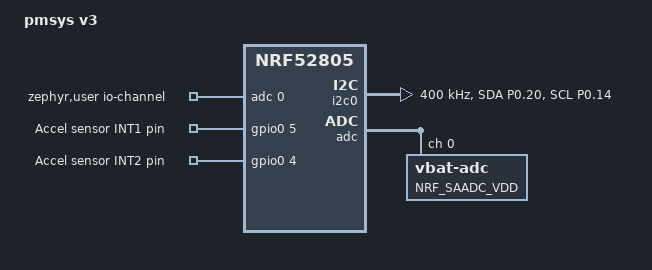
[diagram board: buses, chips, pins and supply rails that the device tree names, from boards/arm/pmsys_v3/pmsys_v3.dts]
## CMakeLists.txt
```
#
# Copyright (c) 2018 Nordic Semiconductor
#
# SPDX-License-Identifier: LicenseRef-Nordic-5-Clause
#
cmake_minimum_required(VERSION 3.20.0)

find_package(Zephyr REQUIRED HINTS $ENV{ZEPHYR_BASE})
project(ble_sensor)

# NORDIC SDK APP START
target_sources(app PRIVATE
  src/main.c
  src/xgzp6812d/xgzp6812d.c
  src/lis2dh12tr/lis2dh12tr.c
  src/lis2dh12tr/lis2dh12_reg.c
)

# NORDIC SDK APP END
zephyr_library_include_directories(. src/lis2dh12tr src/xgzp6812d)
```

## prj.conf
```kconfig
#
# Copyright (c) 2023 Nordic Semiconductor ASA
#
# SPDX-License-Identifier: Apache-2.0
#

# Use internal RC (no external 32khz)
CONFIG_CLOCK_CONTROL_NRF_K32SRC_RC=y
CONFIG_CLOCK_CONTROL_NRF_K32SRC_XTAL=n
CONFIG_CLOCK_CONTROL_NRF_K32SRC_250PPM=y

# Bluetooth
CONFIG_BT=y
CONFIG_BT_PERIPHERAL=y
CONFIG_BT_DEVICE_NAME="PSENS"    # This is prefix name. We will add 2 bytes address at the end of name
CONFIG_BT_LOG_LEVEL_OFF=n

# Log configuration
#CONFIG_LOG=n
#CONFIG_CONSOLE=n
#CONFIG_USE_SEGGER_RTT=n
#CONFIG_RTT_CONSOLE=n
#CONFIG_LOG_BACKEND_RTT=n
#CONFIG_CBPRINTF_FP_SUPPORT=n
#CONFIG_LOG_MODE_IMMEDIATE=n

# Interfaces
CONFIG_I2C=y
CONFIG_I2C_LOG_LEVEL_OFF=y

# Required to disable default behavior of deep sleep on timeout
CONFIG_POWEROFF=y
CONFIG_HWINFO=y

# Disabling unused features
CONFIG_ADC=n
CONFIG_PWM=n
CONFIG_SERIAL=n
CONFIG_WATCHDOG=n
CONFIG_SPI=n
CONFIG_FLASH=n
CONFIG_DEBUG=n

# Power management
CONFIG_PM=y
CONFIG_PM_DEVICE=y
CONFIG_PM_DEVICE_RUNTIME=y
#CONFIG_BT_CTLR_TX_PWR_MINUS_4=y


# LOGGER
#turn y to log
CONFIG_LOG=y
CONFIG_CONSOLE=y
CONFIG_USE_SEGGER_RTT=y
CONFIG_RTT_CONSOLE=y
CONFIG_UART_CONSOLE=n
CONFIG_LOG_BACKEND_RTT=y
CONFIG_CBPRINTF_FP_SUPPORT=n
CONFIG_LOG_MODE_IMMEDIATE=y

#always n
CONFIG_BT_DEBUG_LOG=n
CONFIG_BT_ASSERT=n
CONFIG_BT_DATA_LEN_UPDATE=n
CONFIG_BT_PHY_UPDATE=n
CONFIG_BT_GATT_SERVICE_CHANGED=n
CONFIG_BT_GAP_PERIPHERAL_PREF_PARAMS=n
CONFIG_BT_HCI_VS_EXT=n


CONFIG_IDLE_STACK_SIZE=140
CONFIG_MAIN_STACK_SIZE=1600
CONFIG_ISR_STACK_SIZE=1800

# Reduce Bluetooth buffers
CONFIG_BT_BUF_EVT_DISCARDABLE_COUNT=1
CONFIG_BT_BUF_EVT_DISCARDABLE_SIZE=45
CONFIG_BT_BUF_ACL_RX_COUNT=2
CONFIG_BT_BUF_EVT_RX_COUNT=2

CONFIG_BT_L2CAP_TX_BUF_COUNT=2
```

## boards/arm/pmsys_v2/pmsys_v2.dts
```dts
// Copyright (c) 2024 Nordic Semiconductor ASA
// SPDX-License-Identifier: Apache-2.0

/dts-v1/;
#include <nordic/nrf52840_qiaa.dtsi>

/ {
	model = "pmsys_v2";
	compatible = "pm-sys,pmsys-v2";

	chosen {
		zephyr,sram = &sram0;
		zephyr,flash = &flash0;
		zephyr,code-partition = &slot0_partition;
	};

	gpios {
		compatible = "gpio-keys";
		accelint1: accel_int1 {
			gpios = <&gpio0 2 (GPIO_PULL_DOWN | GPIO_ACTIVE_HIGH)>;
			label = "Accel sensor INT1 pin";
		};
	};

	aliases {
		accelint = &accelint1;
	};

};

&flash0 {
	partitions {
		compatible = "fixed-partitions";
		#address-cells = <1>;
		#size-cells = <1>;

		boot_partition: partition@0 {
			label = "mcuboot";
			reg = <0x0 0xc000>;
		};
		slot0_partition: partition@c000 {
			label = "image-0";
			reg = <0xc000 0x72000>;
		};
		slot1_partition: partition@7e000 {
			label = "image-1";
			reg = <0x7e000 0x72000>;
		};
		scratch_partition: partition@f0000 {
			label = "image-scratch";
			reg = <0xf0000 0xa000>;
		};
		storage_partition: partition@fa000 {
			label = "storage";
			reg = <0xfa000 0x6000>;
		};
	};
};

&gpio0 {
	status = "okay";
};

&gpio1 {
	status = "okay";
};

&pinctrl {

    i2c_alt_default: i2c_alt_default {
        group1 {
            psels = <NRF_PSEL(TWIM_SDA, 1, 4)>,
                	<NRF_PSEL(TWIM_SCL, 1, 6)>;
        };
    };

    i2c_alt_sleep: i2c_alt_sleep {
        group1 {
            psels = <NRF_PSEL(TWIM_SDA, 1, 4)>,
                	<NRF_PSEL(TWIM_SCL, 1, 6)>;
			low-power-enable;
        };
    };

};

i2c0_inst: &i2c0 {
    compatible = "nordic,nrf-twim";
    status = "okay";
    pinctrl-0 = <&i2c_alt_default>;
	pinctrl-1 = <&i2c_alt_sleep>;
	pinctrl-names = "default", "sleep";
    clock-frequency = < I2C_BITRATE_FAST >;
};
```

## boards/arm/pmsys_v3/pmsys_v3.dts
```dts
// Copyright (c) 2024 Nordic Semiconductor ASA
// SPDX-License-Identifier: Apache-2.0

/dts-v1/;
#include <nordic/nrf52805_caaa.dtsi>

/ {
	zephyr,user {
		io-channels = <&adc 0>;
	};
};

/ {
	model = "pmsys v3";
	compatible = "pm-sys,pmsys-v3";
 
	chosen {
		zephyr,sram = &sram0;
		zephyr,flash = &flash0;
		zephyr,code-partition = &slot0_partition;
	};

	gpios {
		compatible = "gpio-keys";
		accelint1: accel_int1 {
			gpios = <&gpio0 5 (GPIO_PULL_DOWN | GPIO_ACTIVE_HIGH)>;
			label = "Accel sensor INT1 pin";
		};
		accelint2: accel_int2 {
			gpios = <&gpio0 4 (GPIO_PULL_DOWN | GPIO_ACTIVE_HIGH)>;
			label = "Accel sensor INT2 pin";
		};
	};

	aliases {
		accelint = &accelint1;
	};
};

&flash0 {
	partitions {
		compatible = "fixed-partitions";
		#address-cells = <1>;
		#size-cells = <1>;

		boot_partition: partition@0 {
			label = "mcuboot";
			reg = <0x0 0xc000>;
		};
		slot0_partition: partition@c000 {
			label = "image-0";
			reg = <0xc000 0xa000>;
		};
		slot1_partition: partition@16000 {
			label = "image-1";
			reg = <0x16000 0xa000>;
		};
		scratch_partition: partition@20000 {
			label = "image-scratch";
			reg = <0x20000 0xa000>;
		};
		storage_partition: partition@2a000 {
			label = "storage";
			reg = <0x2a000 0x6000>;
		};
	};
};

&gpio0 {
	status = "okay";
};

&pinctrl {

    i2c_alt_default: i2c_alt_default {
        group1 {
            psels = <NRF_PSEL(TWIM_SDA, 0, 20)>,
                	<NRF_PSEL(TWIM_SCL, 0, 14)>;
        };
    };

    i2c_alt_sleep: i2c_alt_sleep {
        group1 {
            psels = <NRF_PSEL(TWIM_SDA, 0, 20)>,
                	<NRF_PSEL(TWIM_SCL, 0, 14)>;
			low-power-enable;
        };
    };

};

i2c0_inst: &i2c0 {
    compatible = "nordic,nrf-twim";
    status = "okay";
    pinctrl-0 = <&i2c_alt_default>;
	pinctrl-1 = <&i2c_alt_sleep>;
	pinctrl-names = "default", "sleep";
    clock-frequency = < I2C_BITRATE_FAST >;
};

&adc {
	#address-cells = <1>;
	#size-cells = <0>;
	status = "okay";

	vbat-adc@0 {
		reg = <0>;
		zephyr,gain = "ADC_GAIN_1_6";
		zephyr,reference = "ADC_REF_INTERNAL";
		zephyr,acquisition-time = <ADC_ACQ_TIME(ADC_ACQ_TIME_MICROSECONDS, 10)>;
		zephyr,input-positive = <NRF_SAADC_VDD>;
		zephyr,oversampling = <4>;
		zephyr,resolution = <12>;
	};
};
```

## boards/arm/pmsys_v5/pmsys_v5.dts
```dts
// Copyright (c) 2024 Nordic Semiconductor ASA
// SPDX-License-Identifier: Apache-2.0

/dts-v1/;
#include <nordic/nrf52805_caaa.dtsi>

/ {
	zephyr,user {
		io-channels = <&adc 0>;
	};
};

/ {
	model = "pmsys v3";
	compatible = "pm-sys,pmsys-v5";
 
	chosen {
		zephyr,sram = &sram0;
		zephyr,flash = &flash0;
		zephyr,code-partition = &slot0_partition;
	};

	gpios {
		compatible = "gpio-keys";
		accelint1: accel_int1 {
			gpios = <&gpio0 5 (GPIO_PULL_DOWN | GPIO_ACTIVE_HIGH)>;
			label = "Accel sensor INT1 pin";
		};
		accelint2: accel_int2 {
			gpios = <&gpio0 4 (GPIO_PULL_DOWN | GPIO_ACTIVE_HIGH)>;
			label = "Accel sensor INT2 pin";
		};
	};

	aliases {
		accelint = &accelint1;
	};
};

&flash0 {
	partitions {
		compatible = "fixed-partitions";
		#address-cells = <1>;
		#size-cells = <1>;

		boot_partition: partition@0 {
			label = "mcuboot";
			reg = <0x0 0xc000>;
		};
		slot0_partition: partition@c000 {
			label = "image-0";
			reg = <0xc000 0xa000>;
		};
		slot1_partition: partition@16000 {
			label = "image-1";
			reg = <0x16000 0xa000>;
		};
		scratch_partition: partition@20000 {
			label = "image-scratch";
			reg = <0x20000 0xa000>;
		};
		storage_partition: partition@2a000 {
			label = "storage";
			reg = <0x2a000 0x6000>;
		};
	};
};

&gpio0 {
	status = "okay";
};

&gpiote {
	status = "okay";
};

&pinctrl {

    i2c_alt_default: i2c_alt_default {
        group1 {
            psels = <NRF_PSEL(TWIM_SDA, 0, 12)>,
                	<NRF_PSEL(TWIM_SCL, 0, 16)>;
        };
    };

    i2c_alt_sleep: i2c_alt_sleep {
        group1 {
            psels = <NRF_PSEL(TWIM_SDA, 0, 12)>,
                	<NRF_PSEL(TWIM_SCL, 0, 16)>;
			low-power-enable;
        };
    };

};

i2c0_inst: &i2c0 {
    compatible = "nordic,nrf-twim";
    status = "okay";
    pinctrl-0 = <&i2c_alt_default>;
	pinctrl-1 = <&i2c_alt_sleep>;
	pinctrl-names = "default", "sleep";
    clock-frequency = < I2C_BITRATE_FAST >;
};

&adc {
	#address-cells = <1>;
	#size-cells = <0>;
	status = "okay";

	vbat-adc@0 {
		reg = <0>;
		zephyr,gain = "ADC_GAIN_1_6";
		zephyr,reference = "ADC_REF_INTERNAL";
		zephyr,acquisition-time = <ADC_ACQ_TIME(ADC_ACQ_TIME_MICROSECONDS, 10)>;
		zephyr,input-positive = <NRF_SAADC_VDD>;
		zephyr,oversampling = <4>;
		zephyr,resolution = <12>;
	};
};
```

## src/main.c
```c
/*
 *  main.c
 *
 *  Created on: Dec 17, 2023
 */

/******************************************************************************/

/******************************************************************************/
/*                              INCLUDE FILES                                 */
/******************************************************************************/

#include <stdio.h>
#include <string.h>

#include <zephyr/kernel.h>
#include <zephyr/device.h>
#include <zephyr/sys/reboot.h>
#include <zephyr/bluetooth/bluetooth.h>
#include <zephyr/bluetooth/uuid.h>
#include <zephyr/logging/log.h>
#include <zephyr/sys/poweroff.h>
#include <hal/nrf_gpio.h>
#include <zephyr/drivers/adc.h>
#include <zephyr/drivers/gpio.h>
#include <helpers/nrfx_reset_reason.h>
#include <zephyr/drivers/i2c.h>
#include "xgzp6812d/xgzp6812d.h"
#include "lis2dh12tr/lis2dh12tr.h"

LOG_MODULE_REGISTER(main, LOG_LEVEL_INF);

/******************************************************************************/
/*                     EXPORTED TYPES and DEFINITIONS                         */
/******************************************************************************/

static int ADV_INTERVAL_S=30;    /* Advertising upto ADV_INTERVAL_S seconds if no motion detected */

#define MAX_PRESSURE            1000    /* Max is 10 bar so max value = 10 * 100 = 1000 kPA */
#define DEVICE_NAME_LENGTH      (sizeof(CONFIG_BT_DEVICE_NAME) + 5)    /* Prefix name + '-XXXX' */

#define SERVICE_UUID            0x181A      /* Custom service UUID */
#define IDX_TEMPL               4           /* Index of lo byte of temp in service data*/
#define IDX_TEMPH               5           /* Index of hi byte of temp in service data*/

#define BAT_ADC_CHANNEL_ID 0

//BT_GAP_ADV_SLOW_INT_MIN   0x0640 /* 1 s */
//BT_GAP_ADV_SLOW_INT_MAX   0x0780 /* 1.2 s */
#define ADV_PARAM BT_LE_ADV_PARAM(BT_LE_ADV_OPT_USE_IDENTITY, \
                  BT_GAP_ADV_SLOW_INT_MIN, \
                  BT_GAP_ADV_SLOW_INT_MAX, NULL)

/* Index in the service data */
#define PRES_INDEX              4
#define TEMP_INDEX              6

static float pressure = 0.0, temperature = 0.0;
static double pressure_present = 0;
static double pressure_p2 = 0;
static volatile int sleep_counter = 0;
static volatile int ridemode_counter = 0; /* Counter for nowing system is in ridemode*/
static int16_t flagstart=0;
static int16_t stopble=0;


#if !DT_NODE_EXISTS(DT_PATH(zephyr_user)) || \
	!DT_NODE_HAS_PROP(DT_PATH(zephyr_user), io_channels)
#error "No suitable devicetree overlay specified"
#endif

#define DT_SPEC_AND_COMMA(node_id, prop, idx) \
	ADC_DT_SPEC_GET_BY_IDX(node_id, idx),

/* Data of ADC io-channels specified in devicetree. */
static const struct adc_dt_spec adc_channels[] = {
	DT_FOREACH_PROP_ELEM(DT_PATH(zephyr_user), io_channels,
			     DT_SPEC_AND_COMMA)
};
/* adv_update_timer used to handle the sleep_counter without the need for k_msleep() */
static struct k_timer m_adv_update_timer_id;

/** adv update timer timeout callback. 
    This would be called when ever the (1000ms) inetrval passes. Making the sleep_ounter flag increases. 
*/
void adv_update_timer_timeout(struct k_timer *timer_id)
{
    sleep_counter++;
    LOG_INF("adv_update_timer_timeout sleep_counter %d", sleep_counter);
     

    ridemode_counter++;
    LOG_INF("ridemode_counter %d", ridemode_counter);

}

static const struct device * sensors_i2c_dev = DEVICE_DT_GET(DT_NODELABEL(i2c0_inst));

int i2c_scanner(void) {

    int err = 0;
	uint8_t dst = 0;
	uint8_t i2c_dev_cnt = 0;

	for (uint8_t x = 0; x <= 0x7f; x++) {
        /* Send the address to read from */
        err = i2c_read(sensors_i2c_dev, &dst, 1, x);
            /* I2C device found on current address */
        if (err == 0) {
            LOG_INF("I2c device found @ addr 0x%02x ",x);
            i2c_dev_cnt++;
        }
	}

	LOG_INF("Scan done! found %d i2c devices", i2c_dev_cnt);
}

/******************************************************************************/
/*                              PRIVATE DATA                                  */
/******************************************************************************/

static uint8_t service_data[] = {
    BT_UUID_16_ENCODE(SERVICE_UUID),
    0x07,    /* Length */
    0x01,    /* Pressure type */
    0x00,    /* Value in 0.1 bar */
    0x02,    /* Temperature type */
    0x00,    /* Value in C */
};

static char device_name[DEVICE_NAME_LENGTH];
static struct bt_data adv_data[] = {
    BT_DATA_BYTES(BT_DATA_FLAGS, BT_LE_AD_GENERAL | BT_LE_AD_NO_BREDR),
    BT_DATA(BT_DATA_NAME_COMPLETE, device_name, sizeof(device_name) - 1),
    BT_DATA(BT_DATA_SVC_DATA16, service_data, ARRAY_SIZE(service_data))
};


/******************************************************************************/
/*                              EXPORTED DATA                                 */
/******************************************************************************/



/******************************************************************************/
/*                                FUNCTIONS                                   */
/******************************************************************************/



/******************************************************************************/

/*!
 * @brief  This callback is called after BT ready
 */
static void bt_ready(int err) {
    if (err) {
        LOG_ERR("Bluetooth init failed (err %d)", err);
        return;
    }
    LOG_INF("Bluetooth initialized");

    /* Update device name included mac address */
    bt_addr_le_t addr;
    size_t count = 1;
    bt_id_get(&addr, &count);
    sprintf(device_name, "%s-%02X%02X", CONFIG_BT_DEVICE_NAME, addr.a.val[4], addr.a.val[5]);
    LOG_INF("Device name %s", device_name);
}

void advertising_start()
{
    if (pressure_present>2)
    { 
        LOG_INF("Start advertising!!!");
        int err = bt_le_adv_start(ADV_PARAM, adv_data, ARRAY_SIZE(adv_data), NULL, 0);
        if (err) {
            LOG_ERR("Advertising failed to start (err %d)", err);
            sys_reboot(SYS_REBOOT_WARM);
            return ;
        }
        flagstart=2;
    } 
} 




int main(void) {

    int err;
    LOG_INF("Power up! Firmware version %s", "1.0.0");
    k_msleep(100);    /* 1 seconds */

    // Scanning the i2c bus for sensors addresses
    i2c_scanner();

    /* Need to initialize lis2dh12tr to pull up INT1 pin */
    lis2dh12tr_init();
    if (lis2dh12tr_init() != 0) {
        LOG_INF("Failed to initialize lis2dh12tr. Restart system");
        k_msleep(100);
        sys_reboot(SYS_REBOOT_WARM);
    }

    /* Configure to generate PORT event (wakeup) on buttons press. */
    nrf_gpio_cfg_input(NRF_DT_GPIOS_TO_PSEL(DT_ALIAS(accelint), gpios), NRF_GPIO_PIN_PULLDOWN);
    nrf_gpio_cfg_sense_set(NRF_DT_GPIOS_TO_PSEL(DT_ALIAS(accelint), gpios), NRF_GPIO_PIN_SENSE_HIGH);

    /* Initialize the Bluetooth Subsystem */
    err = bt_enable(bt_ready);
    if (err) {
        LOG_ERR("Bluetooth init failed (err %d)", err);
        return 0;
    }

    /* the sensors */
    xgzp6812d_init();

    /* Initialize the adv_update timer */
    k_timer_init(&m_adv_update_timer_id, adv_update_timer_timeout, NULL);

    /* Start the adv_update timer, periodic with 1000 ms as an interval */
    k_timer_start(&m_adv_update_timer_id, K_MSEC(1000), K_MSEC(1000));
   
    /* Loop */
    while (1) {
        if (ridemode_counter > 60) {
            stopble=1;
            bt_le_adv_stop();
            LOG_INF("Turn off ADV ");
        }
         if (ridemode_counter > 120) {
            advertising_start();
            stopble=0;
            LOG_INF("Turn on ADV ");
            ridemode_counter = 20;
        }   

        if (sleep_counter <= ADV_INTERVAL_S) 
        {
           
            
                if (xgzp6812d_get_cal(&pressure, &temperature) == 0) 
                {
                    

                        /*Meassuring the parameters*/
                        service_data[PRES_INDEX] = (uint8_t) (pressure / 10);                  /* kPa to 0.1bar */
                        service_data[TEMP_INDEX] = (int8_t) (temperature / 10);    /* C to 0.1C */
                        pressure_present=pressure/10;
                        LOG_INF("Temperature %f c, pressure %f kpa", temperature, pressure_present);

                         if (pressure_present>2)
                    { 

                        if ((pressure_p2 - pressure_present >= 2 || pressure_p2 > pressure_present) )
                        {
                            ADV_INTERVAL_S = 120;
                            sleep_counter = 0;
                            if (stopble==1) {
                                ridemode_counter=120;
                            }
                        }

                        if (flagstart<1)
                            {
                        advertising_start();    
                        
                            }

                        if (pressure > MAX_PRESSURE) {
                        pressure = MAX_PRESSURE;
                        }
                    
                
                        if(stopble==0){
                        /* Update adv */
                        err = bt_le_adv_update_data(adv_data, ARRAY_SIZE(adv_data), NULL, 0);
                        LOG_INF("Updated BLE Data");
                        if (err) {
                            LOG_ERR("Failed to update advertising data (err %d)", err);
                            }
                        }
                        pressure_p2=pressure_present;
                    }
                 if (pressure_present<2){
                        LOG_INF("Pressure ist to low- SHIPPING MODE");
                        sleep_counter=30;
                    } 
                } 
            
        
            
        } else {
            
            /* Stop advertising */
            bt_le_adv_stop();
            if (bt_le_adv_stop() == 0)
            {
               flagstart=0;     
            }
            /* Stop the adv_update timer */
            k_timer_stop(&m_adv_update_timer_id);
            /* Power down the acc sensor */
            lis2dh12tr_power_down();
            LOG_INF("Go to sleep...");
            k_msleep(100);    /* 100ms before sleeping */
            sys_poweroff();
        }

        /* If have interrupt, we reset timeout counter */
        if (lis2dh12tr_wait_interrupt(K_NO_WAIT) == 0) {
            sleep_counter = 0;
            LOG_INF("Sleep after %d seconds", ADV_INTERVAL_S);
        }

        //LOG_INF("END of While LOOP");
        k_msleep(1000);
    }
}
```
